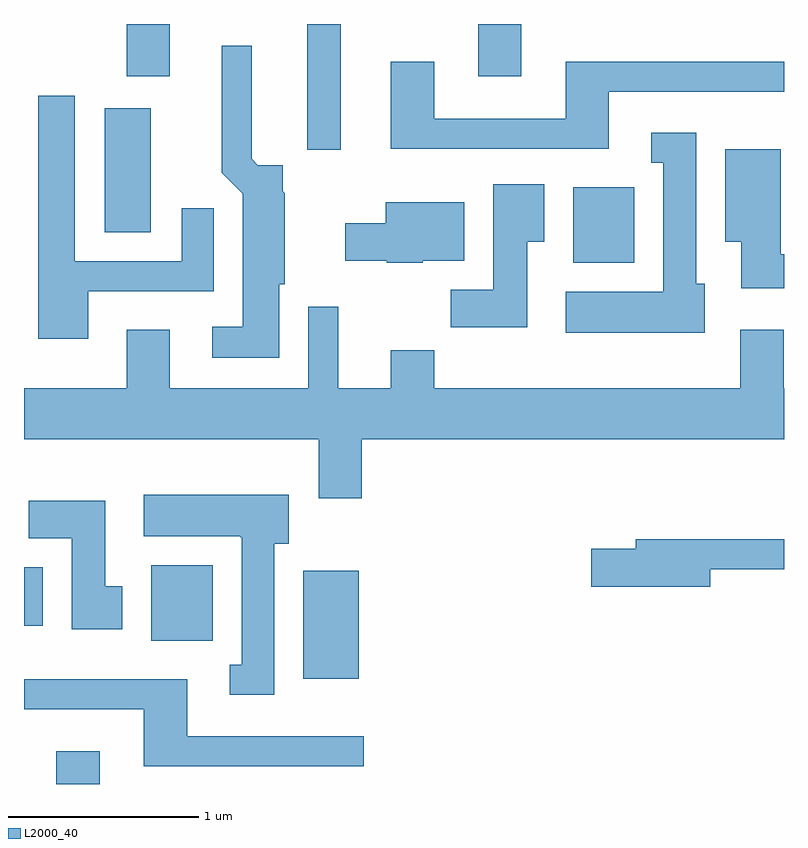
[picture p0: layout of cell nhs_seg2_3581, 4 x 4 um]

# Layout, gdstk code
import gdstk
lib = gdstk.Library(unit=1e-6, precision=1e-09)
def R(c, l, rs):  # rectangles x0, y0, x1, y1
    for r in rs: c.add(gdstk.rectangle(r[:2], r[2:], *l))
def P(c, l, *ps):  # polygons
    for p in ps: c.add(gdstk.Polygon(p, *l))
L2000_40 = (2000, 40)

nhs_seg2_3581 = lib.new_cell('nhs_seg2_3581')
R(nhs_seg2_3581, L2000_40, [(289.781,1079.802,290.009,1079.974), (291.081,1080.356,291.374,1080.924), (290.281,1080.556,290.604,1080.954), (289.611,1080.636,289.709,1080.944), (292.501,1082.546,292.824,1082.944), (290.036,1082.706,290.279,1083.359), (291.101,1083.141,291.279,1083.802), (290.151,1083.526,290.379,1083.802), (292.001,1083.526,292.229,1083.802)])
P(nhs_seg2_3581, L2000_40, [(290.954,1082.431),(290.984,1082.431),(290.984,1082.911),(290.974,1082.921),(290.974,1083.059),(290.842,1083.059),(290.809,1083.092),(290.809,1083.688),(290.651,1083.688),(290.651,1083.019),(290.761,1082.909),(290.761,1082.209),(290.603,1082.209),(290.603,1082.046),(290.954,1082.046)],
  [(292.689,1083.446),(293.611,1083.446),(293.611,1083.604),(292.461,1083.604),(292.461,1083.304),(291.769,1083.304),(291.769,1083.604),(291.541,1083.604),(291.541,1083.146),(292.689,1083.146)],
  [(289.949,1082.396),(290.609,1082.396),(290.609,1082.833),(290.441,1082.833),(290.441,1082.554),(289.879,1082.554),(289.879,1083.424),(289.686,1083.424),(289.686,1082.146),(289.949,1082.146)],
  [(293.194,1082.434),(293.149,1082.434),(293.149,1083.229),(292.913,1083.229),(292.913,1083.071),(292.976,1083.071),(292.976,1082.394),(292.461,1082.394),(292.461,1082.176),(293.194,1082.176)],
  [(293.611,1082.589),(293.594,1082.589),(293.594,1083.144),(293.301,1083.144),(293.301,1082.656),(293.386,1082.656),(293.386,1082.411),(293.611,1082.411)],
  [(292.259,1082.656),(292.349,1082.656),(292.349,1082.959),(292.081,1082.959),(292.081,1082.404),(291.856,1082.404),(291.856,1082.206),(292.259,1082.206)],
  [(291.71,1082.556),(291.929,1082.556),(291.929,1082.864),(291.516,1082.864),(291.516,1082.754),(291.301,1082.754),(291.301,1082.556),(291.52,1082.556),(291.52,1082.546),(291.71,1082.546)],
  [(291.389,1081.616),(293.611,1081.616),(293.611,1081.884),(293.609,1081.884),(293.609,1082.194),(293.381,1082.194),(293.381,1081.884),(291.769,1081.884),(291.769,1082.084),(291.541,1082.084),(291.541,1081.884),(291.264,1081.884),(291.264,1082.313),(291.106,1082.313),(291.106,1081.884),(290.379,1081.884),(290.379,1082.194),(290.151,1082.194),(290.151,1081.884),(289.611,1081.884),(289.611,1081.616),(291.161,1081.616),(291.161,1081.306),(291.389,1081.306)],
  [(290.929,1081.066),(291.004,1081.066),(291.004,1081.324),(290.241,1081.324),(290.241,1081.106),(290.75,1081.106),(290.75,1081.1),(290.756,1081.1),(290.756,1080.429),(290.693,1080.429),(290.693,1080.271),(290.929,1080.271)],
  [(290.129,1080.844),(290.039,1080.844),(290.039,1081.294),(289.636,1081.294),(289.636,1081.096),(289.861,1081.096),(289.861,1080.616),(290.129,1080.616)],
  [(293.224,1080.931),(293.611,1080.931),(293.611,1081.089),(292.831,1081.089),(292.831,1081.039),(292.596,1081.039),(292.596,1080.841),(293.224,1080.841)],
  [(291.398,1080.054),(290.469,1080.054),(290.469,1080.354),(289.611,1080.354),(289.611,1080.196),(290.241,1080.196),(290.241,1079.896),(291.398,1079.896)])

lib.write_gds('nhs_seg2_3581.gds')
